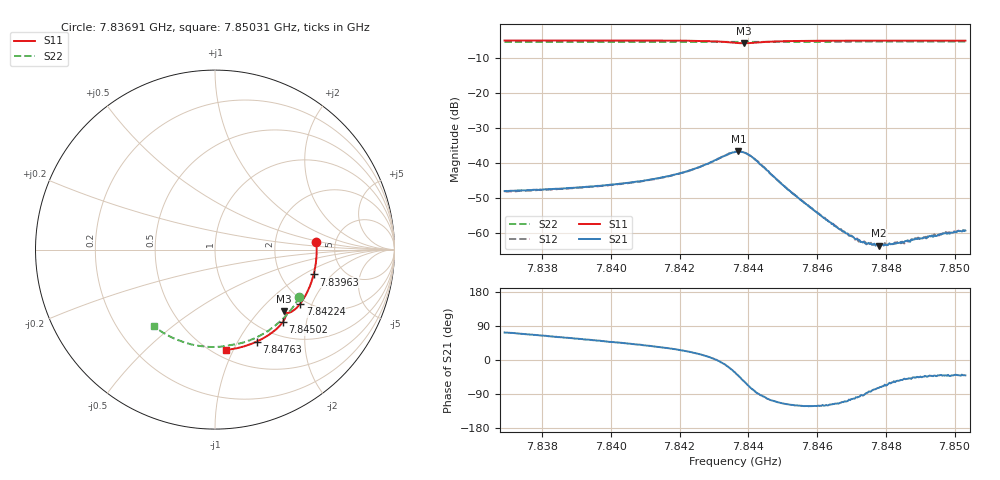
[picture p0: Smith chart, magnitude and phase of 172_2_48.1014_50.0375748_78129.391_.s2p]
#  HZ  S  RI  R  50.00
! Rohde & Schwarz Vector Network Analyzer
! Rohde-Schwarz,ZNB20-2Port,1311601062101988,3.16
! Created: UTC 12/23/2023, 3:51:51 AM
! freq[Hz]  re:S11  im:S11  re:S21  im:S21  re:S12  im:S12  re:S22  im:S22
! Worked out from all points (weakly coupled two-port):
!   401 points, 7.83691 GHz to 7.85031 GHz, reference 50 ohm
!   highest |S21| = -36.73 dB at 7.84371 GHz (marker M1); lowest = -63.7 dB at 7.8478 GHz (marker M2)
!   lowest |S11| = -5.7 dB at 7.84388 GHz (marker M3), VSWR 3.14, Z = 74 - j69.5 ohm
!   |S11| at or under -10 dB: nowhere
!   |S22| runs from -5.4 to -5.3 dB; largest |S21 - S12| = 0.00029
!   S11 on the Smith chart (normalised r, x): 7.83691 GHz: 3.55, +0.43; 7.83963 GHz: 3.06, -1.25; 7.84224 GHz: 1.86, -1.64; 7.84502 GHz: 1.26, -1.47; 7.84763 GHz: 0.80, -1.20; 7.85031 GHz: 0.57, -0.94
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7.836912e9  0.5646 0.0416  0.00119 0.00377  0.00117 0.00372  0.47 -0.2648
7.839157e9  0.5566 -0.1073  0.00255 0.00367  0.00253 0.00363  0.3748 -0.3892
7.839626e9  0.5499 -0.1382  0.00294 0.00365  0.00287 0.00362  0.3504 -0.4114
7.841402e9  0.5065 -0.2512  0.00499 0.0034  0.00497 0.00341  0.2475 -0.4811
7.84224e9  0.4745 -0.3021  0.00705 0.00295  0.00697 0.00293  0.1937 -0.5054
7.843111e9  0.4247 -0.347  0.0115 -0.000306  0.0113 -0.000274  0.1352 -0.5232
7.843613e9  0.3901 -0.3502  0.0121 -0.00776  0.0121 -0.0078  0.1015 -0.5294
7.843714e9  0.3866 -0.3476  0.0109 -0.00971  0.0108 -0.00968  0.0951 -0.5305
7.843881e9  0.3862 -0.3439  0.00768 -0.0117  0.00761 -0.0118  0.0845 -0.5325
7.84425e9  0.3941 -0.3539  0.000559 -0.0106  0.000721 -0.0107  0.0608 -0.537
7.845021e9  0.3768 -0.4048  -0.002 -0.0043  -0.00198 -0.00434  0.00668 -0.5425
7.845858e9  0.3356 -0.4484  -0.00116 -0.00189  -0.00115 -0.00188  -0.0523 -0.541
7.846562e9  0.2963 -0.4775  -0.000513 -0.00109  -0.000528 -0.0011  -0.1014 -0.5345
7.847165e9  0.261 -0.4984  -0.000125 -0.000796  -0.000111 -0.000822  -0.1428 -0.5252
7.8474e9  0.2469 -0.5057  4.05e-06 -0.000701  -1.77e-05 -0.000736  -0.1586 -0.5208
7.847634e9  0.2327 -0.5124  0.000134 -0.000667  0.000119 -0.000664  -0.1745 -0.5161
7.847802e9  0.2223 -0.5172  0.000185 -0.000624  0.000187 -0.000662  -0.1855 -0.5124
7.848103e9  0.2036 -0.5249  0.000351 -0.000612  0.000355 -0.000604  -0.2053 -0.5047
7.848505e9  0.1784 -0.534  0.000452 -0.000569  0.000427 -0.000578  -0.2312 -0.4937
7.848907e9  0.1526 -0.5418  0.000578 -0.000566  0.000571 -0.000606  -0.2566 -0.4813
7.849745e9  0.0983 -0.554  0.000751 -0.000633  0.000752 -0.000698  -0.3069 -0.4514
7.850315e9  0.0607 -0.5593  0.000814 -0.000697  0.000816 -0.000692  -0.3392 -0.4278
